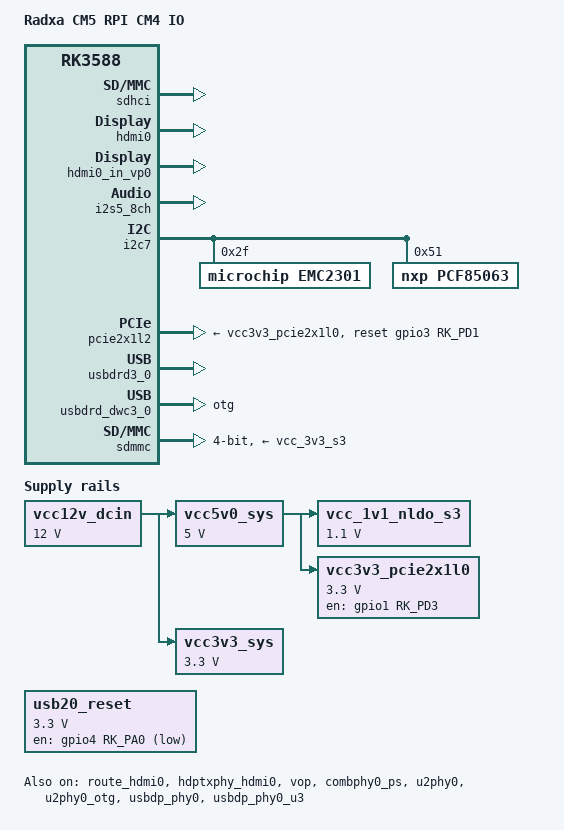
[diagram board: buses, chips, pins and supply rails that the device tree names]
// SPDX-License-Identifier: (GPL-2.0+ OR MIT)
/*
 * Copyright (c) 2023 Rockchip Electronics Co., Ltd.
 * Copyright (c) 2023 Radxa Limited
 *
 */

/dts-v1/;

#include "rk3588s-radxa-cm5.dtsi"

/ {
	model = "Radxa CM5 RPI CM4 IO";
	compatible = "radxa,cm5-rpi-cm4-io", "rockchip,rk3588";

	/delete-node/ chosen;

	vcc12v_dcin: vcc12v-dcin {
		compatible = "regulator-fixed";
		regulator-name = "vcc12v_dcin";
		regulator-always-on;
		regulator-boot-on;
		regulator-min-microvolt = <12000000>;
		regulator-max-microvolt = <12000000>;
	};

	vcc5v0_sys: vcc5v0-sys {
		compatible = "regulator-fixed";
		regulator-name = "vcc5v0_sys";
		regulator-always-on;
		regulator-boot-on;
		regulator-min-microvolt = <5000000>;
		regulator-max-microvolt = <5000000>;
		vin-supply = <&vcc12v_dcin>;
	};

	vcc_1v1_nldo_s3: vcc-1v1-nldo-s3 {
		compatible = "regulator-fixed";
		regulator-name = "vcc_1v1_nldo_s3";
		regulator-always-on;
		regulator-boot-on;
		regulator-min-microvolt = <1100000>;
		regulator-max-microvolt = <1100000>;
		vin-supply = <&vcc5v0_sys>;
	};

	usb20_reset: usb-up-regulator {
		compatible = "regulator-fixed";
		enable-active-low;
		gpio = <&gpio4 RK_PA0 GPIO_ACTIVE_HIGH>;
		pinctrl-names = "default";
		pinctrl-0 = <&usb20_reset_pin>;
		regulator-name = "usb20_reset";
		regulator-min-microvolt = <3300000>;
		regulator-max-microvolt = <3300000>;
	};

	hdmi0_sound: hdmi0-sound {
		status = "okay";
		compatible = "rockchip,hdmi";
		rockchip,mclk-fs = <128>;
		rockchip,card-name = "rockchip-hdmi0";
		rockchip,cpu = <&i2s5_8ch>;
		rockchip,codec = <&hdmi0>;
		rockchip,jack-det;
	};

	vcc3v3_sys: vcc3v3-sys {
		compatible = "regulator-fixed";
		regulator-name = "vcc3v3_sys";
		regulator-always-on;
		regulator-boot-on;
		regulator-min-microvolt = <3300000>;
		regulator-max-microvolt = <3300000>;
		vin-supply = <&vcc12v_dcin>;
	};

	vcc3v3_pcie2x1l0: vcc3v3-pcie2x1l0 {
		compatible = "regulator-fixed";
		regulator-name = "vcc3v3_pcie2x1l0";
		regulator-min-microvolt = <3300000>;
		regulator-max-microvolt = <3300000>;
		enable-active-high;
		regulator-boot-on;
		regulator-always-on;
		gpios = <&gpio1 RK_PD3 GPIO_ACTIVE_HIGH>;
		startup-delay-us = <50000>;
		vin-supply = <&vcc5v0_sys>;
	};
};

&gpio_leds {
	activity-led-green {
		gpios = <&gpio4 RK_PB3 GPIO_ACTIVE_LOW>;
		linux,default-trigger = "heartbeat";
		default-state = "on";
	};

	pwr-led-red {
		gpios = <&gpio3 RK_PC5 GPIO_ACTIVE_LOW>;
		linux,default-trigger = "default-on";
	};
};

&sdhci {
	status = "okay";
};

&hdmi0 {
	status = "okay";
};

&hdmi0_in_vp0 {
	status = "okay";
};

&route_hdmi0 {
	status = "okay";
};

&hdptxphy_hdmi0 {
	status = "okay";
};

&i2s5_8ch {
	status = "okay";
};

&vop {
	status = "okay";
};

&vop_mmu {
	status = "okay";
};

&vp0 {
	rockchip,plane-mask = <(1 << ROCKCHIP_VOP2_CLUSTER0 | 1 << ROCKCHIP_VOP2_ESMART0)>;
	rockchip,primary-plane = <ROCKCHIP_VOP2_CLUSTER0>;
	cursor-win-id = <ROCKCHIP_VOP2_ESMART0>;
};

&vp1 {
	rockchip,plane-mask = <(1 << ROCKCHIP_VOP2_CLUSTER1 | 1 << ROCKCHIP_VOP2_ESMART1)>;
	rockchip,primary-plane = <ROCKCHIP_VOP2_CLUSTER1>;
	cursor-win-id = <ROCKCHIP_VOP2_ESMART1>;
};

&vp2 {
	rockchip,plane-mask = <(1 << ROCKCHIP_VOP2_CLUSTER2 | 1 << ROCKCHIP_VOP2_ESMART2)>;
	rockchip,primary-plane = <ROCKCHIP_VOP2_CLUSTER2>;
	cursor-win-id = <ROCKCHIP_VOP2_ESMART2>;
};

&vp3 {
	rockchip,plane-mask = <(1 << ROCKCHIP_VOP2_CLUSTER3 | 1 << ROCKCHIP_VOP2_ESMART3)>;
	rockchip,primary-plane = <ROCKCHIP_VOP2_CLUSTER3>;
	cursor-win-id = <ROCKCHIP_VOP2_ESMART3>;
};

&display_subsystem {
	clocks = <&hdptxphy_hdmi_clk0>;
	clock-names = "hdmi0_phy_pll";
};

&hdptxphy_hdmi_clk0 {
	status = "okay";
};

&i2c7 {
	status = "okay";
	pinctrl-names = "default";
	pinctrl-0 = <&i2c7m2_xfer>;

	emc2301: emc2301@2f {
		status = "okay";
		compatible = "microchip,emc2301";
		reg = <0x2f>;
		#address-cells = <1>;
		#size-cells = <0>;
		#cooling-cells = <2>;
		microchip,pwm-separate;
		microchip,cooling-levels = <10>;
		channel@0 {
			reg = <0>;
			pwm-min = <0>;
		};
	};

	pcf85063: pcf85063@51 {
		compatible = "nxp,pcf85063";
		status = "okay";
		reg = <0x51>;
		quartz-load-femtofarads = <12500>;
	};
};

&threshold {
	temperature = <60000>;
};

&soc_thermal {
	cooling-maps {
		sustainable-power = <5000>; /* milliwatts */
		map3 {
			trip = <&target>;
			cooling-device =
				<&emc2301 THERMAL_NO_LIMIT THERMAL_NO_LIMIT>;
			contribution = <8192>;
		};
		map4 {
			trip = <&threshold>;
			cooling-device =
				<&emc2301 THERMAL_NO_LIMIT THERMAL_NO_LIMIT>;
			contribution = <8192>;
		};
	};
};

&pinctrl {

	usb {
		usb20_reset_pin: usb20-reset {
			rockchip,pins = <4 RK_PA0 RK_FUNC_GPIO &pcfg_pull_up>;
		};
	};
};

&pcie2x1l2 {
	reset-gpios = <&gpio3 RK_PD1 GPIO_ACTIVE_HIGH>;
	vpcie3v3-supply = <&vcc3v3_pcie2x1l0>;
	status = "okay";
};

&combphy0_ps {
	status = "okay";
};

&u2phy0 {
	status = "okay";
};

&u2phy0_otg {
	status = "okay";
};

&usbdp_phy0 {
	status = "okay";
};

&usbdp_phy0_u3 {
	status = "okay";
};

&usbdrd3_0 {
	status = "okay";
};

&usbdrd_dwc3_0 {
	dr_mode = "otg";
	extcon = <&u2phy0>;
	status = "okay";
};

&sdmmc {
	max-frequency = <200000000>;
	supports-sd;
	bus-width = <4>;
	cap-mmc-highspeed;
	cap-sd-highspeed;
	disable-wp;
	sd-uhs-sdr104;
	vmmc-supply = <&vcc_3v3_s3>;
	vqmmc-supply = <&vccio_sd_s0>;
	pinctrl-names = "default";
	pinctrl-0 = <&sdmmc_bus4 &sdmmc_clk &sdmmc_cmd>;
	status = "okay";
};

/* Fix the issue of board howling */
&vdd_cpu_big0_s0 {
	regulator-initial-mode = <1>;
};

&vdd_cpu_big1_s0 {
	regulator-initial-mode = <1>;
};

&vdd_npu_s0 {
	regulator-initial-mode = <1>;
};

&vdd_gpu_s0 {
	regulator-initial-mode = <1>;
};

&vdd_cpu_lit_s0 {
	regulator-initial-mode = <1>;
};

&vdd_log_s0 {
	regulator-initial-mode = <1>;
};

&vdd_vdenc_s0 {
	regulator-initial-mode = <1>;
};

&vdd_ddr_s0 {
	regulator-initial-mode = <1>;
};

&vdd2_ddr_s3 {
	regulator-initial-mode = <1>;
};

&vcc_2v0_pldo_s3 {
	regulator-initial-mode = <1>;
};

&vcc_3v3_s3 {
	regulator-initial-mode = <1>;
};

&vddq_ddr_s0 {
	regulator-initial-mode = <1>;
};

&vcc_1v8_s3 {
	regulator-initial-mode = <1>;
};

&gpio0 {
	gpio-line-names =
		/* GPIO0_A0-A3 */
		"", "", "", "",
		/* GPIO0_A4-A7 */
		"", "", "", "",

		/* GPIO0_B0-B3 */
		"", "", "", "",
		/* GPIO0_B4-B7 */
		"", "PIN_8", "PIN_10", "",

		/* GPIO0_C0-C3 */
		"", "", "", "",
		/* GPIO0_C4-C7 */
		"", "", "", "PIN_5",

		/* GPIO0_D0-D3 */
		"PIN_3", "", "", "",
		/* GPIO0_D4-D7 */
		"", "", "", "";
};

&gpio1 {
	gpio-line-names =
		/* GPIO1_A0-A3 */
		"", "PIN_38", "PIN_40", "PIN_12",
		/* GPIO1_A4-A7 */
		"PIN_36", "", "PIN_18", "PIN_16",

		/* GPIO1_B0-B3 */
		"PIN_22", "PIN_21", "PIN_19", "PIN_23",
		/* GPIO1_B4-B7 */
		"PIN_24", "PIN_26", "", "",

		/* GPIO1_C0-C3 */
		"", "", "PIN_11", "PIN_15",
		/* GPIO1_C4-C7 */
		"", "PIN_13", "", "PIN_29",

		/* GPIO1_D0-D3 */
		"", "", "", "",
		/* GPIO1_D4-D7 */
		"PIN_7", "", "PIN_28", "PIN_27";
};

&gpio2 {
	gpio-line-names =
		/* GPIO2_A0-A3 */
		"", "", "", "",
		/* GPIO2_A4-A7 */
		"", "", "", "",

		/* GPIO2_B0-B3 */
		"", "", "", "",
		/* GPIO2_B4-B7 */
		"", "", "", "",

		/* GPIO2_C0-C3 */
		"", "", "", "",
		/* GPIO2_C4-C7 */
		"", "", "", "",

		/* GPIO2_D0-D3 */
		"", "", "", "",
		/* GPIO2_D4-D7 */
		"", "", "", "";
};

&gpio3 {
	gpio-line-names =
		/* GPIO3_A0-A3 */
		"", "", "", "",
		/* GPIO3_A4-A7 */
		"", "", "", "",

		/* GPIO3_B0-B3 */
		"", "", "", "",
		/* GPIO3_B4-B7 */
		"", "", "", "",

		/* GPIO3_C0-C3 */
		"", "", "", "",
		/* GPIO3_C4-C7 */
		"", "", "", "",

		/* GPIO3_D0-D3 */
		"PIN_37", "", "", "",
		/* GPIO3_D4-D7 */
		"", "", "", "";
};

&gpio4 {
	gpio-line-names =
		/* GPIO4_A0-A3 */
		"", "PIN_33", "PIN_31", "",
		/* GPIO4_A4-A7 */
		"", "", "", "",

		/* GPIO4_B0-B3 */
		"", "", "PIN_32", "",
		/* GPIO4_B4-B7 */
		"", "", "", "",

		/* GPIO4_C0-C3 */
		"", "", "", "",
		/* GPIO4_C4-C7 */
		"", "", "", "",

		/* GPIO4_D0-D3 */
		"", "", "", "",
		/* GPIO4_D4-D7 */
		"", "", "", "";
};
